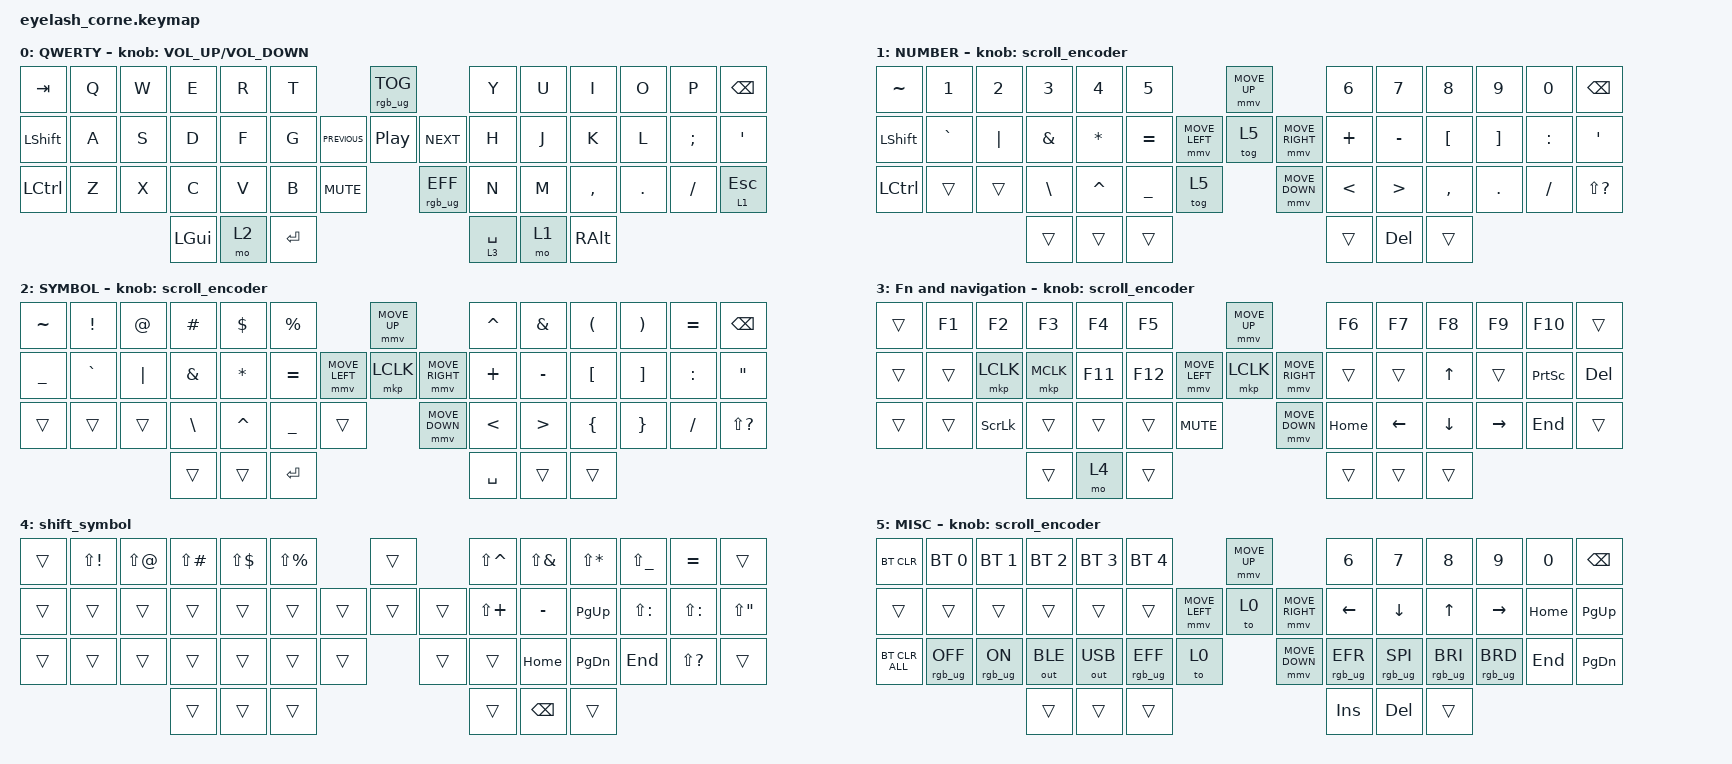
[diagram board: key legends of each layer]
#define ZMK_POINTING_DEFAULT_MOVE_VAL 1200  // 600
#define ZMK_POINTING_DEFAULT_SCRL_VAL 25   // 10

#include <input/processors.dtsi>
#include <zephyr/dt-bindings/input/input-event-codes.h>
#include <behaviors.dtsi>
#include <dt-bindings/zmk/bt.h>
#include <dt-bindings/zmk/keys.h>
#include <dt-bindings/zmk/outputs.h>
#include <dt-bindings/zmk/pointing.h>
#include <dt-bindings/zmk/rgb.h>

&mmv_input_listener { input-processors = <&zip_xy_scaler 2 1>; };

&msc_input_listener { input-processors = <&zip_scroll_scaler 2 1>; };

&msc {
    acceleration-exponent = <1>;      // 0
    time-to-max-speed-ms = <100>;       // 300
    delay-ms = <0>;                   // 0
};

&mmv {
    time-to-max-speed-ms = <500>;
    acceleration-exponent = <1>;
    trigger-period-ms = <16>;
};

/ {
    behaviors {
        td0: td0 {
            compatible = "zmk,behavior-tap-dance";
            display-name = "Shift/Caps Lock Tap Dance";
            #binding-cells = <0>;
            bindings = <&kp TAB>, <&kp ESCAPE>;

            label = "esc_tab";
        };
    };

    rgb_encoder: rgb_encoder {
        compatible = "zmk,behavior-sensor-rotate";
        #sensor-binding-cells = <0>;
        bindings = <&rgb_ug RGB_BRI>, <&rgb_ug RGB_BRD>;
    };

    scroll_encoder: scroll_encoder {
        compatible = "zmk,behavior-sensor-rotate";
        #sensor-binding-cells = <0>;
        bindings = <&msc SCRL_DOWN>, <&msc SCRL_UP>;

        tap-ms = <100>;
    };

    combos {
        compatible = "zmk,combos";

        combo_r_pipe {
            bindings = <&r_pip>;
            key-positions = <5 44>;
            layers = <0 2 3 1 4>;
        };
    };

    macros {
        r_pip: r_pip {
            compatible = "zmk,behavior-macro";
            #binding-cells = <0>;
            bindings = <&kp SPACE &kp PRCNT &kp GT &kp PRCNT &kp RET>;
            label = "R_PIP";
        };
    };

    keymap {
        compatible = "zmk,keymap";

        default_layer {
            display-name = "QWERTY";
            bindings = <
&kp TAB         &kp Q  &kp W  &kp E     &kp R  &kp T                                    &rgb_ug RGB_TOG               &kp Y        &kp U  &kp I      &kp O    &kp P     &kp BSPC
&kp LEFT_SHIFT  &kp A  &kp S  &kp D     &kp F  &kp G                    &kp C_PREVIOUS  &kp C_PLAY_PAUSE  &kp C_NEXT  &kp H        &kp J  &kp K      &kp L    &kp SEMI  &kp SQT
&kp LCTRL       &kp Z  &kp X  &kp C     &kp V  &kp B      &kp C_MUTE                    &rgb_ug RGB_EFF               &kp N        &kp M  &kp COMMA  &kp DOT  &kp FSLH  &lt 1 ESCAPE
                              &kp LGUI  &mo 2  &kp ENTER                                                              &lt 3 SPACE  &mo 1  &kp RALT
            >;

            sensor-bindings = <&inc_dec_kp C_VOLUME_UP C_VOLUME_DOWN>;
        };

        lower_layer {
            display-name = "NUMBER";
            bindings = <
&kp TILDE  &kp N1     &kp N2    &kp N3         &kp N4        &kp N5                                    &mmv MOVE_UP                     &kp N6         &kp N7            &kp N8     &kp N9    &kp N0     &kp BSPC
&kp LSHFT  &kp GRAVE  &kp PIPE  &kp AMPERSAND  &kp ASTERISK  &kp EQUAL                 &mmv MOVE_LEFT  &tog 5          &mmv MOVE_RIGHT  &kp PLUS       &kp MINUS         &kp LBKT   &kp RBKT  &kp COLON  &kp SQT
&kp LCTRL  &trans     &trans    &kp BACKSLASH  &kp CARET     &kp UNDERSCORE  &tog 5                    &mmv MOVE_DOWN                   &kp LESS_THAN  &kp GREATER_THAN  &kp COMMA  &kp DOT   &kp FSLH   &kp LS(QMARK)
                                &trans         &trans        &trans                                                                     &trans         &kp DEL           &trans
            >;

            sensor-bindings = <&scroll_encoder>;
        };

        raise_layer {
            display-name = "SYMBOL";
            bindings = <
&kp TILDE       &kp EXCL   &kp AT    &kp HASH       &kp DLLR      &kp PRCNT                                 &mmv MOVE_UP                     &kp CARET      &kp AMPS          &kp LEFT_PARENTHESIS  &kp RIGHT_PARENTHESIS  &kp EQUAL  &kp BSPC
&kp UNDERSCORE  &kp GRAVE  &kp PIPE  &kp AMPERSAND  &kp ASTERISK  &kp EQUAL                 &mmv MOVE_LEFT  &mkp LCLK       &mmv MOVE_RIGHT  &kp PLUS       &kp MINUS         &kp LEFT_BRACKET      &kp RIGHT_BRACKET      &kp COLON  &kp DOUBLE_QUOTES
&trans          &trans     &trans    &kp BACKSLASH  &kp CARET     &kp UNDERSCORE  &trans                    &mmv MOVE_DOWN                   &kp LESS_THAN  &kp GREATER_THAN  &kp LEFT_BRACE        &kp RIGHT_BRACE        &kp SLASH  &kp LS(QMARK)
                                     &trans         &trans        &kp RET                                                                    &kp SPACE      &trans            &trans
            >;

            sensor-bindings = <&scroll_encoder>;
        };

        layer_3 {
            display-name = "Fn and navigation";
            bindings = <
&trans  &kp F1  &kp F2          &kp F3     &kp F4   &kp F5                                 &mmv MOVE_UP                     &kp F6    &kp F7    &kp F8    &kp F9     &kp F10          &trans
&trans  &trans  &mkp LCLK       &mkp MCLK  &kp F11  &kp F12                &mmv MOVE_LEFT  &mkp LCLK       &mmv MOVE_RIGHT  &trans    &trans    &kp UP    &trans     &kp PRINTSCREEN  &kp DEL
&trans  &trans  &kp SCROLLLOCK  &trans     &trans   &trans   &kp C_MUTE                    &mmv MOVE_DOWN                   &kp HOME  &kp LEFT  &kp DOWN  &kp RIGHT  &kp END          &trans
                                &trans     &mo 4    &trans                                                                  &trans    &trans    &trans
            >;

            sensor-bindings = <&scroll_encoder>;
        };

        shift_symbol {
            bindings = <
&trans  &kp LS(EXCL)  &kp LS(AT)  &kp LS(POUND)  &kp LS(DLLR)  &kp LS(PRCNT)                    &trans          &kp LS(CARET)  &kp LS(AMPS)   &kp LS(STAR)  &kp LS(UNDER)  &kp EQUAL      &trans
&trans  &trans        &trans      &trans         &trans        &trans                   &trans  &trans  &trans  &kp LS(PLUS)   &kp MINUS      &kp PG_UP     &kp LS(COLON)  &kp LS(COLON)  &kp LS(DQT)
&trans  &trans        &trans      &trans         &trans        &trans         &trans            &trans          &trans         &kp HOME       &kp PG_DN     &kp END        &kp LS(QMARK)  &trans
                                  &trans         &trans        &trans                                           &trans         &kp BACKSPACE  &trans
            >;
        };

        layer_5 {
            display-name = "MISC";
            bindings = <
&bt BT_CLR      &bt BT_SEL 0     &bt BT_SEL 1    &bt BT_SEL 2  &bt BT_SEL 3  &bt BT_SEL 4                              &mmv MOVE_UP                     &kp N6           &kp N7           &kp N8           &kp N9           &kp N0    &kp BSPC
&trans          &trans           &trans          &trans        &trans        &trans                    &mmv MOVE_LEFT  &to 0           &mmv MOVE_RIGHT  &kp LEFT         &kp DOWN         &kp UP           &kp RIGHT        &kp HOME  &kp PG_UP
&bt BT_CLR_ALL  &rgb_ug RGB_OFF  &rgb_ug RGB_ON  &out OUT_BLE  &out OUT_USB  &rgb_ug RGB_EFF  &to 0                    &mmv MOVE_DOWN                   &rgb_ug RGB_EFR  &rgb_ug RGB_SPI  &rgb_ug RGB_BRI  &rgb_ug RGB_BRD  &kp END   &kp PG_DN
                                                 &trans        &trans        &trans                                                                     &kp INS          &kp DEL          &trans
            >;

            sensor-bindings = <&scroll_encoder>;
        };
    };
};
